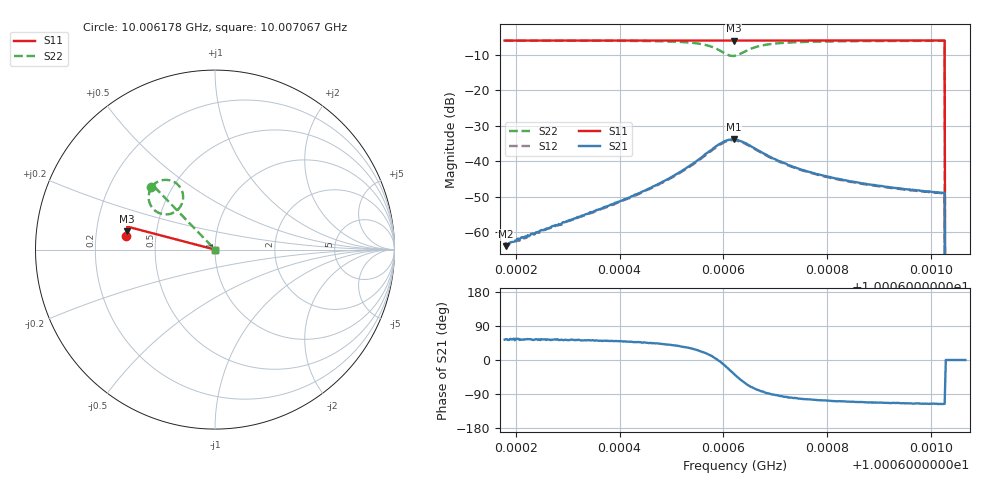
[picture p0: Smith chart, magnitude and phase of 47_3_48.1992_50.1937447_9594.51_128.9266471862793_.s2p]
#  HZ  S  RI  R  50.00
! Rohde & Schwarz Vector Network Analyzer
! Rohde-Schwarz,ZNB20-2Port,1311601062101988,3.16
! Created: UTC 3/20/2024, 11:38:07 AM
! freq[Hz]  re:S11  im:S11  re:S21  im:S21  re:S12  im:S12  re:S22  im:S22
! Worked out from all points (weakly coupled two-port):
!   401 points, 10.006178 GHz to 10.007067 GHz, reference 50 ohm
!   highest |S21| = -33.84 dB at 10.00662 GHz (marker M1); lowest = -63.9 dB at 10.006181 GHz (marker M2)
!   lowest |S11| = -6.0 dB at 10.00662 GHz (marker M3), VSWR 3.00, Z = 16.8 + j4.55 ohm
!   |S11| at or under -10 dB: 10.007027 GHz to end of sweep
!   |S22| runs from - to -6.0 dB; largest |S21 - S12| = 0.0014
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1.00061784e10  -0.4964 0.0738  0.000393 0.000538  0.000364 0.00056  -0.3561 0.3501
1.00061806e10  -0.4963 0.0741  0.000365 0.000519  0.00039 0.000584  -0.356 0.3504
1.00062073e10  -0.4961 0.0758  0.000476 0.000626  0.0004 0.000648  -0.3538 0.3524
1.00062273e10  -0.496 0.0771  0.000514 0.000735  0.000486 0.000739  -0.352 0.3542
1.00063272e10  -0.495 0.0837  0.00106 0.00135  0.000934 0.00137  -0.3417 0.3635
1.00064161e10  -0.494 0.0894  0.00201 0.00227  0.00188 0.00232  -0.3263 0.3742
1.0006476e10  -0.4934 0.0935  0.00352 0.00329  0.00329 0.00336  -0.307 0.3832
1.00065271e10  -0.4927 0.0968  0.00655 0.00436  0.00617 0.00454  -0.2737 0.3887
1.00065671e10  -0.4916 0.0997  0.0123 0.00389  0.0116 0.00412  -0.2209 0.3725
1.00066004e10  -0.4905 0.1011  0.0183 -0.00368  0.0181 -0.00269  -0.1774 0.2896
1.00066115e10  -0.4903 0.1012  0.0181 -0.00855  0.0181 -0.00731  -0.1895 0.2455
1.00066204e10  -0.4902 0.1014  0.0162 -0.0122  0.0165 -0.0109  -0.2143 0.2164
1.00066226e10  -0.4904 0.1016  0.0155 -0.0129  0.0159 -0.0115  -0.222 0.211
1.00066404e10  -0.4907 0.1021  0.0094 -0.0157  0.01 -0.0148  -0.2872 0.1969
1.00066737e10  -0.4911 0.1044  0.0017 -0.0133  0.00235 -0.0129  -0.3536 0.2387
1.00067225e10  -0.4909 0.1079  -0.00113 -0.00902  -0.000797 -0.00885  -0.3699 0.2886
1.00067714e10  -0.4904 0.1112  -0.00174 -0.00664  -0.00139 -0.0066  -0.3673 0.3141
1.00068425e10  -0.4896 0.1158  -0.0018 -0.00492  -0.00151 -0.00495  -0.3607 0.3338
1.00069202e10  -0.4885 0.1209  -0.00172 -0.00395  -0.00147 -0.00398  -0.3537 0.3465
1.00070224e10  -0.487 0.1274  -0.00158 -0.00323  -0.00137 -0.00326  -0.3462 0.3576
1.00070335e10  0 0  0 0  0 0  0 0
1.00070668e10  0 0  0 0  0 0  0 0
